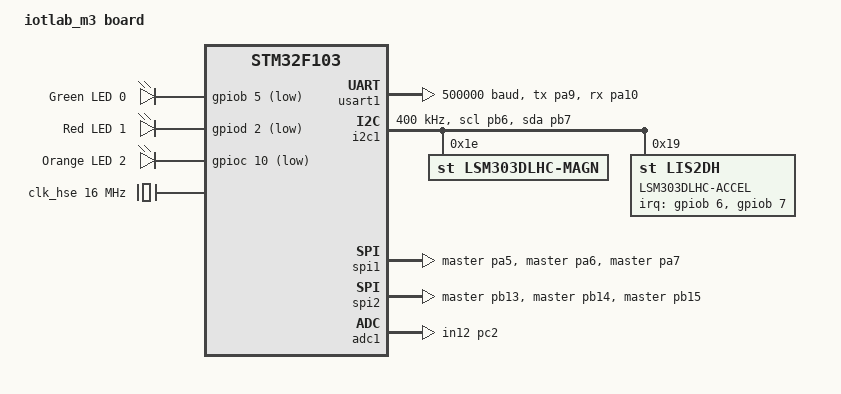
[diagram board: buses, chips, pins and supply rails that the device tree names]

/dts-v1/;
#include <st/f1/stm32f103Xe.dtsi>
#include <st/f1/stm32f103r(c-d-e)tx-pinctrl.dtsi>

/ {
	model = "iotlab_m3 board";
	compatible = "st,stm32f103";

	chosen {
		zephyr,console = &usart1;
		zephyr,shell-uart = &usart1;
		zephyr,sram = &sram0;
		zephyr,flash = &flash0;
	};

        leds {
		compatible = "gpio-leds";
		green_led_0: led_0 {
			gpios = <&gpiob 5 GPIO_ACTIVE_LOW>;
			label = "Green LED 0";
		};
		red_led_1: led_1 {
			gpios = <&gpiod 2 GPIO_ACTIVE_LOW>;
			label = "Red LED 1";
		};
		orange_led_2: led_2 {
			gpios = <&gpioc 10 GPIO_ACTIVE_LOW>;
			label = "Orange LED 2";
		};
	};

	aliases {
		led0 = &green_led_0;
		led1 = &red_led_1;
		led2 = &orange_led_2;
	};
};

&clk_hse {
	clock-frequency = <DT_FREQ_M(16)>;
	status = "okay";
};


&clk_lse {
        status = "okay";
};

&pll {
	mul = <9>;
	clocks = <&clk_hse>;
	status = "okay";
};

&rcc {
	clocks = <&pll>;
	clock-frequency = <DT_FREQ_M(72)>;
	ahb-prescaler = <1>;
	apb1-prescaler = <2>;
	apb2-prescaler = <1>;
};

&usart1 {
	pinctrl-0 = <&usart1_tx_pa9 &usart1_rx_pa10>;
	current-speed = <500000>;
	status = "okay";
};

&i2c1 {
	pinctrl-0 = <&i2c1_scl_pb6 &i2c1_sda_pb7>;
	status = "okay";
        clock-frequency = <I2C_BITRATE_FAST>;

        lsm303dlhc-magn@1e {
                compatible = "st,lsm303dlhc-magn";
                reg = <0x1e>;
                label = "LSM303DLHC-MAGN";
        };

        lsm303dlhc-accel@19 {
                compatible = "st,lis2dh", "st,lsm303dlhc-accel";
                reg = <0x19>;
                irq-gpios = <&gpiob 6 GPIO_ACTIVE_HIGH>,
                          <&gpiob 7 GPIO_ACTIVE_HIGH>;
                label = "LSM303DLHC-ACCEL";
        };
};

&spi1 {
	pinctrl-0 = <&spi1_sck_master_pa5 &spi1_miso_master_pa6 &spi1_mosi_master_pa7>;
	status = "okay";
};

&spi2 {
	pinctrl-0 = <&spi2_sck_master_pb13 &spi2_miso_master_pb14 &spi2_mosi_master_pb15>;
	status = "okay";
};

&adc1 {
	pinctrl-0 = <&adc1_in12_pc2>;
	status = "okay";
};

ext1_spi: &spi1 {
};

